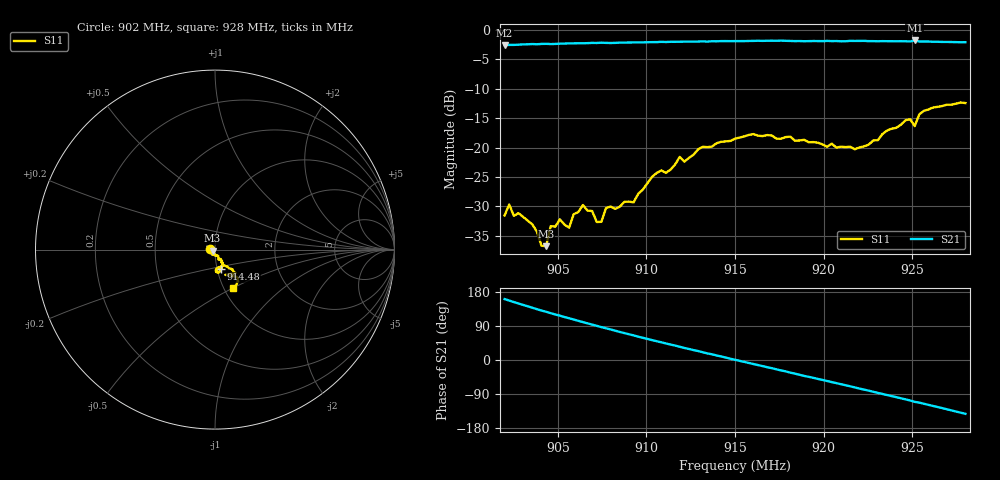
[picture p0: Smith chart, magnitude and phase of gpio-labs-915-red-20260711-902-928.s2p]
# HZ S RI R 50
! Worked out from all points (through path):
!   101 points, 902 MHz to 928 MHz, reference 50 ohm
!   highest |S21| = -1.80 dB at 925.14 MHz (marker M1); lowest = -2.6 dB at 902 MHz (marker M2)
!   lowest |S11| = -36.8 dB at 904.34 MHz (marker M3), VSWR 1.03, Z = 48.7 - j0.579 ohm
!   |S11| at or under -10 dB: start of sweep to end of sweep
!   S12 and S22 are empty: the file has one direction only
!   S11 on the Smith chart (normalised r, x): 902 MHz: 0.95, +0.01; 914.48 MHz: 1.04, -0.23; 928 MHz: 1.10, -0.51
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9.02e8  -0.0259 0.00555  -0.6996 0.2443  0 0  0 0
9.0226e8  -0.0322 0.00614  -0.6854 0.2925  0 0  0 0
9.0356e8  -0.022 -0.00331  -0.5636 0.5072  0 0  0 0
9.0434e8  -0.0132 -0.00594  -0.4611 0.6054  0 0  0 0
9.046e8  -0.0148 -0.0155  -0.4198 0.631  0 0  0 0
9.0512e8  -0.0141 -0.02  -0.3461 0.681  0 0  0 0
9.0564e8  -0.0138 -0.0156  -0.265 0.7212  0 0  0 0
9.0642e8  -0.0175 -0.0273  -0.134 0.7577  0 0  0 0
9.0746e8  -0.00411 -0.023  0.0448 0.7768  0 0  0 0
9.0772e8  -0.00667 -0.0298  0.0845 0.7708  0 0  0 0
9.0928e8  0.0118 -0.0321  0.3315 0.7084  0 0  0 0
9.1084e8  0.0309 -0.0559  0.5426 0.5758  0 0  0 0
9.1448e8  0.0321 -0.108  0.798 0.0902  0 0  0 0
9.15e8  0.0325 -0.1144  0.8033 0.0103  0 0  0 0
9.1708e8  0.0102 -0.1261  0.7521 -0.2988  0 0  0 0
9.1942e8  0.00892 -0.1109  0.5481 -0.5889  0 0  0 0
9.2176e8  0.0414 -0.0873  0.2435 -0.7674  0 0  0 0
9.2384e8  0.093 -0.1106  -0.0745 -0.7978  0 0  0 0
9.2488e8  0.1146 -0.1304  -0.2305 -0.7629  0 0  0 0
9.2514e8  0.0574 -0.1409  -0.2842 -0.7618  0 0  0 0
9.2566e8  0.1275 -0.1607  -0.3422 -0.719  0 0  0 0
9.28e8  0.1005 -0.2165  -0.6196 -0.4835  0 0  0 0
